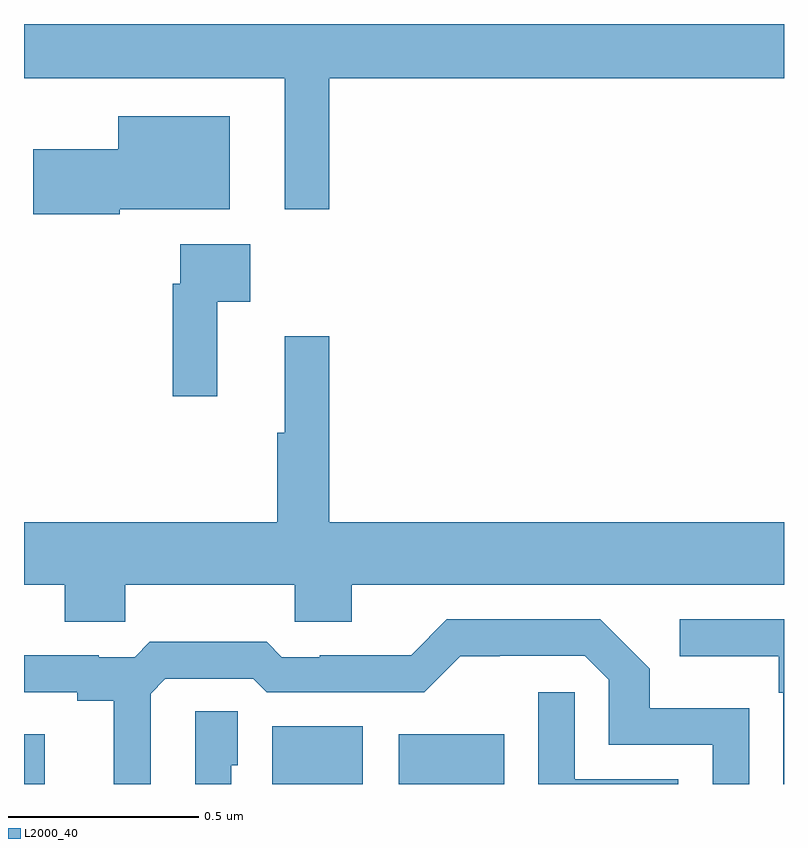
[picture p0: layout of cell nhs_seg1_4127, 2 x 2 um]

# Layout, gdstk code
import gdstk
lib = gdstk.Library(unit=1e-6, precision=1e-09)
def R(c, l, rs):  # rectangles x0, y0, x1, y1
    for r in rs: c.add(gdstk.rectangle(r[:2], r[2:], *l))
def P(c, l, *ps):  # polygons
    for p in ps: c.add(gdstk.Polygon(p, *l))
L2000_40 = (2000, 40)

nhs_seg1_4127 = lib.new_cell('nhs_seg1_4127')
R(nhs_seg1_4127, L2000_40, [(162,559.199,162.055,559.33), (162.653,559.199,162.892,559.351), (162.986,559.199,163.264,559.33)])
P(nhs_seg1_4127, L2000_40, [(162.803,561.056),(164,561.056),(164,561.199),(162,561.199),(162,561.056),(162.686,561.056),(162.686,560.712),(162.803,560.712)],
  [(162.252,560.711),(162.541,560.711),(162.541,560.956),(162.248,560.956),(162.248,560.869),(162.024,560.869),(162.024,560.699),(162.252,560.699)],
  [(162.509,560.468),(162.595,560.468),(162.595,560.62),(162.411,560.62),(162.411,560.516),(162.391,560.516),(162.391,560.22),(162.509,560.22)],
  [(162.267,559.724),(162.712,559.724),(162.712,559.626),(162.862,559.626),(162.862,559.724),(164,559.724),(164,559.888),(162.803,559.888),(162.803,560.377),(162.686,560.377),(162.686,560.124),(162.667,560.124),(162.667,559.888),(162,559.888),(162,559.724),(162.107,559.724),(162.107,559.626),(162.267,559.626)],
  [(164,559.632),(163.725,559.632),(163.725,559.535),(163.986,559.535),(163.986,559.439),(163.998,559.439),(163.998,559.199),(164,559.199)],
  [(162.333,559.437),(162.372,559.476),(162.603,559.476),(162.639,559.44),(163.053,559.44),(163.148,559.535),(163.252,559.535),(163.252,559.536),(163.476,559.536),(163.539,559.473),(163.539,559.302),(163.812,559.302),(163.812,559.199),(163.908,559.199),(163.908,559.399),(163.647,559.399),(163.647,559.502),(163.516,559.632),(163.113,559.632),(163.019,559.538),(162.778,559.538),(162.778,559.533),(162.678,559.533),(162.639,559.573),(162.331,559.573),(162.291,559.533),(162.197,559.533),(162.197,559.538),(162,559.538),(162,559.44),(162.14,559.44),(162.14,559.418),(162.236,559.418),(162.236,559.199),(162.333,559.199)],
  [(163.722,559.212),(163.449,559.212),(163.449,559.441),(163.353,559.441),(163.353,559.199),(163.722,559.199)],
  [(162.546,559.248),(162.562,559.248),(162.562,559.391),(162.45,559.391),(162.45,559.199),(162.546,559.199)])

lib.write_gds('nhs_seg1_4127.gds')
